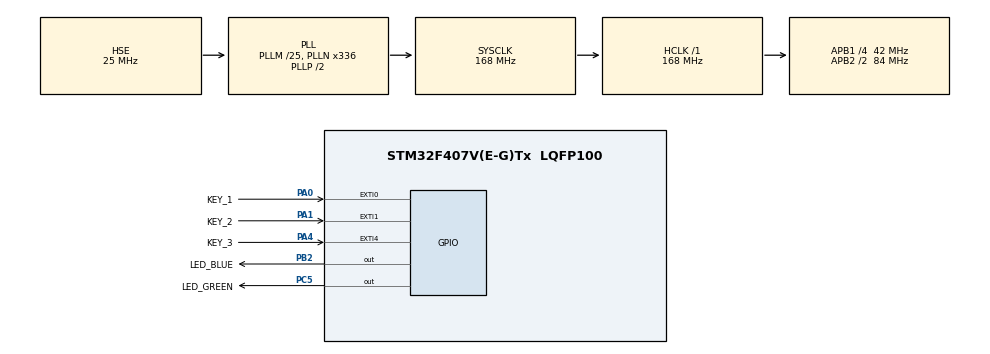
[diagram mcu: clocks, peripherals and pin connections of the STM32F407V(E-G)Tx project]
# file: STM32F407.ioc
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Mcu.Family=STM32F4
Mcu.Name=STM32F407V(E-G)Tx
Mcu.Package=LQFP100
NVIC.EXTI0_IRQn=true\:0\:0\:false\:false\:true\:true\:true\:true
NVIC.EXTI1_IRQn=true\:0\:0\:false\:false\:true\:true\:true\:true
NVIC.EXTI4_IRQn=true\:0\:0\:false\:false\:true\:true\:true\:true
NVIC.PriorityGroup=NVIC_PRIORITYGROUP_4
PA0-WKUP.GPIO_Label=KEY_1
PA0-WKUP.GPIO_ModeDefaultEXTI=GPIO_MODE_IT_RISING
PA0-WKUP.GPIO_PuPd=GPIO_PULLDOWN
PA0-WKUP.Signal=GPXTI0
PA1.GPIO_Label=KEY_2
PA1.GPIO_ModeDefaultEXTI=GPIO_MODE_IT_FALLING
PA1.GPIO_PuPd=GPIO_PULLUP
PA1.Signal=GPXTI1
PA13.Mode=Serial_Wire
PA13.Signal=SYS_JTMS-SWDIO
PA14.Mode=Serial_Wire
PA14.Signal=SYS_JTCK-SWCLK
PA4.GPIO_Label=KEY_3
PA4.GPIO_ModeDefaultEXTI=GPIO_MODE_IT_FALLING
PA4.GPIO_PuPd=GPIO_PULLUP
PA4.Signal=GPXTI4
PB2.GPIO_Label=LED_BLUE
PB2.Signal=GPIO_Output
PC5.GPIO_Label=LED_GREEN
PC5.Signal=GPIO_Output
PH0-OSC_IN.Mode=HSE-External-Oscillator
PH0-OSC_IN.Signal=RCC_OSC_IN
PH1-OSC_OUT.Mode=HSE-External-Oscillator
PH1-OSC_OUT.Signal=RCC_OSC_OUT
ProjectManager.HeapSize=0x200
ProjectManager.StackSize=0x1000
ProjectManager.TargetToolchain=MDK-ARM V5.32
RCC.48MHZClocksFreq_Value=84000000
RCC.AHBFreq_Value=168000000
RCC.APB1CLKDivider=RCC_HCLK_DIV4
RCC.APB1Freq_Value=42000000
RCC.APB1TimFreq_Value=84000000
RCC.APB2CLKDivider=RCC_HCLK_DIV2
RCC.APB2Freq_Value=84000000
RCC.APB2TimFreq_Value=168000000
RCC.CortexFreq_Value=168000000
RCC.HCLKFreq_Value=168000000
RCC.HSE_VALUE=25000000
RCC.HSI_VALUE=16000000
RCC.LSE_VALUE=32768
RCC.PLLM=25
RCC.PLLN=336
RCC.PLLSourceVirtual=RCC_PLLSOURCE_HSE
RCC.SYSCLKFreq_VALUE=168000000
RCC.SYSCLKSource=RCC_SYSCLKSOURCE_PLLCLK
RCC.VCOOutputFreq_Value=336000000
board=custom

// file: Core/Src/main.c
/* USER CODE BEGIN Header */
/**==================================================================================================================
 ** 【代码编写】  魔女开发板团队
 ** 【淘    宝】  魔女开发板       https://demoboard.taobao.com
 **==================================================================================================================
 ** 【实验名称】  SR04 超声波测距模块数据采集
 **
 ** 【适用平台】  STM32F407 + Keil5 + HAL库 + SR04
 **
 ** 【功能概述】  本程序通过定时器捕获方式测量 SR04 超声波模块的回波脉冲宽度，计算距离并通过串口输出。
 **               1. 初始化系统时钟、GPIO 及 UART1
 **               2. 初始化 SR04 模块（配置 Trig 输出引脚、Echo 输入及定时器捕获）
 **               3. 主循环中每 1 秒触发一次测距，读取距离值并滤波输出
 **               4. 绿色 LED 每 500ms 闪烁一次，指示系统运行状态
 **               5. 按键中断（KEY1/KEY2/KEY3）控制蓝色 LED 状态反转并输出提示
 **               6. 支持串口接收数据并回显（测试用）
 **
 ** 【硬件接线】  SR04 模块接线（引脚可在 bsp_SR04.h 中修改）：
 **               VCC   — 5.0V  （SR04 必须使用 5V 供电）
 **               Trig  — PC0   （触发信号，输出）
 **               Echo  — PC2   （回响信号，输入捕获）
 **               GND   — GND
 **               注意：有效测量范围 2cm ~ 400cm，测量角度约 15°。
 **
 ** 【文件说明】  本示例依赖以下 2 个文件，均已封装好底层接口：
 **               - bsp_SR04.c / bsp_SR04.h   ：SR04 驱动核心（定时器捕获 + 引脚控制）
 **
 ** 【函数使用】  使用非常简单，只需两个函数：
 **               1. SR04_Init(void)          // 初始化引脚和定时器
 **               2. float SR04_GetCM(void)   // 触发一次测距，返回距离值（厘米）
 **
 ** 【移植说明】  1. 复制 bsp_SR04.c 和 bsp_SR04.h 到工程目录
 **               2. 在 Keil 中添加文件路径：Options → C/C++ → Include Paths
 **               3. 将 bsp_SR04.c 添加到工程
 **               4. 在需要使用 SR04 的文件中包含 #include "bsp_SR04.h"
 **               5. 如需修改 Trig/Echo 引脚，请修改 bsp_SR04.h 中的宏定义
 **               6. 注意确保定时器捕获通道与 Echo 引脚匹配（本示例使用通用定时器）
 **
 ** 【调试建议】  1. 若测量数据异常，检查模块供电是否为 5V（3.3V 可能无法工作）
 **               2. 测量距离时，模块前方不要有障碍物，避免多次反射干扰
 **               3. 建议测量间隔 ≥ 60ms，避免连续触发导致回波重叠
 **               4. 可使用示波器观察 Trig 和 Echo 波形，确认时序正常
 **               5. 本示例采用了 0.1*旧值 + 0.9*新值 的滤波，若需要快速响应可取消滤波
 **
 ** 【实验现象】  1. 串口助手每 1 秒输出一次距离值，格式：SR04测量距离值： 12.3CM
 **               2. 绿色 LED 每 500ms 闪烁一次，指示程序运行
 **               3. 按下 KEY1/KEY2/KEY3，蓝色 LED 状态反转，串口输出相应提示
 **               4. 通过串口向开发板发送任意数据，会回显接收内容
 **
 ** 【更新记录】  2024-02-19  优化代码结构，增加详细注释
 **               2024-02-17  从标准库迁移至 HAL 库
 **
 ** 【备注说明】  版权归魔女科技所有，仅供学习使用，请勿用于商业用途。
 **               https://demoboard.taobao.com
 **
==================================================================================================================**/
/* USER CODE END Header */
#include "main.h"

/* USER CODE BEGIN Includes */
// 所用用户代码，必须写在配对的BEGIN与END注释之间，否则重新生成时会被自动删除

#include "bsp_UART.h"           // 串口通信
#include "bsp_SR04.h"

/* USER CODE END Includes */

void SystemClock_Config(void);
static void MX_GPIO_Init(void);

int main(void)
{

    /* USER CODE BEGIN 1 */

    /* 说明：
     * 1. 不要删除CubeMX生成的注释行（形如 USER CODE BEGIN/END），这些注释用于代码重新生成时的定位
     * 2. 所有用户自定义代码必须写在对应的BEGIN与END注释行之间，否则重新生成时会被覆盖
     * 3. 主要初始化函数说明：
     *    - HAL_Init()            初始化HAL库，配置中断优先级、系统时基等
     *    - SystemClock_Config()  配置系统时钟
     *    - MX_GPIO_Init()        初始化GPIO引脚（仅包含推挽输出、中断触发等配置）
     *    - 外设功能引脚（如UART、SPI等）的初始化在各自的功能文件中
     */

    /* USER CODE END 1 */

    /* MCU Configuration--------------------------------------------------------*/

    /* Reset of all peripherals, Initializes the Flash interface and the Systick. */
    HAL_Init();

    /* Configure the system clock */
    SystemClock_Config();

    /* Initialize all configured peripherals */
    MX_GPIO_Init();
    /* USER CODE BEGIN 2 */
    // 用户代码，必须写在配对的BEGIN与END注释之间; 否则,重新生成时会被自动删除;

    HAL_GPIO_WritePin(GPIOB, GPIO_PIN_2, GPIO_PIN_RESET);    // 点亮LED_BLUE: PB2置低电平
    HAL_GPIO_WritePin(GPIOC, GPIO_PIN_5, GPIO_PIN_RESET);    // 点亮LED_RED: PC5置低电平

    UART1_Init(115200);                                      // UART1 初始化; 已在bsp_UART.c中处理printf的重定向输出到UART1

    SR04_Init();                                             // SR04 初始化：引脚、TIM

    /* USER CODE END 2 */

    /* Infinite loop */
    while (1)
    {

        /* USER CODE BEGIN 3 */
        // 用户代码，必须写在配对的BEGIN与END注释之间; 否则,重新生成时会被自动删除;

        /** 1ms延时 **/
        HAL_Delay(1 - 1);                                      // 延时函数，参数：ms; 注意：CubeMX生成的HAL_Delay(), 函数内部为避免无效操作，会对传入参数+1，因此，如果只需要几ms延时建议传入参数时-1，如果需要大几百ms的非精准延时，那参数不-1也影响不大

        /******  检查 USART1 是否收到数据 ******/
        if (UART1_GetRxNum())                                  // 如果USART1收到数据(从串口上位机中发过来的）
        {
            // 获取数据
            uint16_t rxNum  = UART1_GetRxNum();                // 获取最后一帧的字节数
            uint8_t *rxData = UART1_GetRxData();               // 获取最后一帧的数据(地址)
            // 把收到的数据，printf到串口助手观察
            printf("\r<<<<<< USART1 接收到新数据 <<<<<<");     // 准备输出
            printf("\r 长度(字节数)：%d", rxNum);              // printf 字节数
            printf("\r 数据(16进制)：");                       // printf 16进制方式显示数据，方便观察真实数据
            for (uint16_t i = 0; i < rxNum; i++)               // 输出每一字节数值
                printf("0x%X ", rxData[i]);
            printf("\r 数据(ASCII) ：%s\r", rxData);           // ASCII方式显示数据，方便观察字符串数据;
            // 清0本帧接收
            UART1_ClearRx();                                   // 清0接收(接收字节数); 重要: 处理完数据后，谨记把接收数量清０, 再进入下次判断;
        }

        /** 每500ms执行一次的任务 **/
        static uint32_t lastTime_500ms = 0;                    // 定义静态变量，用于记录上次执行这个任务的时间点(单位：毫秒)
        if (HAL_GetTick() - lastTime_500ms >= 500)             // 检查当前时间距离上次执行是否已经过了500ms; HAL_GetTick()是获取启动后经过的毫秒数;
        {
            HAL_GPIO_TogglePin(GPIOC, GPIO_PIN_5);             // 控制绿色LED引脚电平翻转(PC5); 规律地闪烁LED，方便外部观察系统是否正常运行
            lastTime_500ms =   HAL_GetTick();                  // 记录当前时间，作为新的基准点，为下一次判断做准备
        }

        /** 每1000ms执行一次的任务 **/
        static uint32_t lastTime_1000ms = 0;                   // 定义静态变量，用于记录上次执行这个任务的时间点(单位：毫秒)
        if (HAL_GetTick() - lastTime_1000ms >= 1000)           // 每1000ms执行一次
        {
            static double cmValue = 0.0;                       // SR04测得的距离值，单位：厘米; 注意，cmValue用static修饰，初始化一次，程序运行期间会保留最后一次更新的值
            cmValue = cmValue * 0.1f + SR04_GetCM() * 0.9f;    // 获取SR04的数据，并转化成厘米值; 注意，算式中的 旧值*0.1+新值*0.9，是为了输出结果的平稳
            printf("SR04测量距离值：%5.1fCM\r\n", cmValue);    // 结果输出到串口上位机中

            lastTime_1000ms =   HAL_GetTick();                 // 记录当前时间，作为新的基准点，为下一次判断做准备
        }

    }
    /* USER CODE END 3 */
}

void SystemClock_Config(void)
{
    RCC_OscInitTypeDef RCC_OscInitStruct = {0};
    RCC_ClkInitTypeDef RCC_ClkInitStruct = {0};

    /** Configure the main internal regulator output voltage
    */
    __HAL_RCC_PWR_CLK_ENABLE();
    __HAL_PWR_VOLTAGESCALING_CONFIG(PWR_REGULATOR_VOLTAGE_SCALE1);

    /** Initializes the RCC Oscillators according to the specified parameters
    * in the RCC_OscInitTypeDef structure.
    */
    RCC_OscInitStruct.OscillatorType = RCC_OSCILLATORTYPE_HSE;
    RCC_OscInitStruct.HSEState = RCC_HSE_ON;
    RCC_OscInitStruct.PLL.PLLState = RCC_PLL_ON;
    RCC_OscInitStruct.PLL.PLLSource = RCC_PLLSOURCE_HSE;
    RCC_OscInitStruct.PLL.PLLM = 25;
    RCC_OscInitStruct.PLL.PLLN = 336;
    RCC_OscInitStruct.PLL.PLLP = RCC_PLLP_DIV2;
    RCC_OscInitStruct.PLL.PLLQ = 4;
    if (HAL_RCC_OscConfig(&RCC_OscInitStruct) != HAL_OK)
    {
        Error_Handler();
    }

    /** Initializes the CPU, AHB and APB buses clocks
    */
    RCC_ClkInitStruct.ClockType = RCC_CLOCKTYPE_HCLK | RCC_CLOCKTYPE_SYSCLK
                                  | RCC_CLOCKTYPE_PCLK1 | RCC_CLOCKTYPE_PCLK2;
    RCC_ClkInitStruct.SYSCLKSource = RCC_SYSCLKSOURCE_PLLCLK;
    RCC_ClkInitStruct.AHBCLKDivider = RCC_SYSCLK_DIV1;
    RCC_ClkInitStruct.APB1CLKDivider = RCC_HCLK_DIV4;
    RCC_ClkInitStruct.APB2CLKDivider = RCC_HCLK_DIV2;

    if (HAL_RCC_ClockConfig(&RCC_ClkInitStruct, FLASH_LATENCY_5) != HAL_OK)
    {
        Error_Handler();
    }
}

static void MX_GPIO_Init(void)
{
    GPIO_InitTypeDef GPIO_InitStruct = {0};

    /* GPIO Ports Clock Enable */
    __HAL_RCC_GPIOH_CLK_ENABLE();
    __HAL_RCC_GPIOA_CLK_ENABLE();
    __HAL_RCC_GPIOC_CLK_ENABLE();
    __HAL_RCC_GPIOB_CLK_ENABLE();

    /*Configure GPIO pin Output Level */
    HAL_GPIO_WritePin(LED_GREEN_GPIO_Port, LED_GREEN_Pin, GPIO_PIN_RESET);

    /*Configure GPIO pin Output Level */
    HAL_GPIO_WritePin(LED_BLUE_GPIO_Port, LED_BLUE_Pin, GPIO_PIN_RESET);

    /*Configure GPIO pin : KEY_1_Pin */
    GPIO_InitStruct.Pin = KEY_1_Pin;
    GPIO_InitStruct.Mode = GPIO_MODE_IT_RISING;
    GPIO_InitStruct.Pull = GPIO_PULLDOWN;
    HAL_GPIO_Init(KEY_1_GPIO_Port, &GPIO_InitStruct);

    /*Configure GPIO pins : KEY_2_Pin KEY_3_Pin */
    GPIO_InitStruct.Pin = KEY_2_Pin | KEY_3_Pin;
    GPIO_InitStruct.Mode = GPIO_MODE_IT_FALLING;
    GPIO_InitStruct.Pull = GPIO_PULLUP;
    HAL_GPIO_Init(GPIOA, &GPIO_InitStruct);

    /*Configure GPIO pin : LED_GREEN_Pin */
    GPIO_InitStruct.Pin = LED_GREEN_Pin;
    GPIO_InitStruct.Mode = GPIO_MODE_OUTPUT_PP;
    GPIO_InitStruct.Pull = GPIO_NOPULL;
    GPIO_InitStruct.Speed = GPIO_SPEED_FREQ_LOW;
    HAL_GPIO_Init(LED_GREEN_GPIO_Port, &GPIO_InitStruct);

    /*Configure GPIO pin : LED_BLUE_Pin */
    GPIO_InitStruct.Pin = LED_BLUE_Pin;
    GPIO_InitStruct.Mode = GPIO_MODE_OUTPUT_PP;
    GPIO_InitStruct.Pull = GPIO_NOPULL;
    GPIO_InitStruct.Speed = GPIO_SPEED_FREQ_LOW;
    HAL_GPIO_Init(LED_BLUE_GPIO_Port, &GPIO_InitStruct);

    /* EXTI interrupt init*/
    HAL_NVIC_SetPriority(EXTI0_IRQn, 0, 0);
    HAL_NVIC_EnableIRQ(EXTI0_IRQn);

    HAL_NVIC_SetPriority(EXTI1_IRQn, 0, 0);
    HAL_NVIC_EnableIRQ(EXTI1_IRQn);

    HAL_NVIC_SetPriority(EXTI4_IRQn, 0, 0);
    HAL_NVIC_EnableIRQ(EXTI4_IRQn);

}

/* USER CODE BEGIN 4 */
/* 所有用户代码，必须写在配对的BEGIN与END注释行之间，否则重新生成时会被删除 */

/******************************************************************************
 * 函  数： HAL_GPIO_EXTI_Callback
 * 功  能： EXTI中断回调函数
 * 参  数： uint16_t  GPIO_Pin    引脚编号，参数范围：GPIO_Pin_0 ~ GPIO_Pin_15
 * 返回值： 无
 * 备  注： CubeMX生成的代码在思维和风格上，与使用标准库编写时有很大的区别：
 *          1：这个是回调函数，不是中断服务函数。完整的调用：EXTIx_IRQHandler() > HAL_GPIO_EXTI_IRQHandler(GPIO_PIN_x) > HAL_GPIO_EXTI_Callback(GPIO_PIN_x)
 *          2：必须使用这个函数名称，因为它在CubeMX生成时，已被写好了各种函数调用、函数弱定义(在stm32xx_hal_gpio.c的底部); 不建议在原弱定义中增添代码，而是重写本函数
 *          3：中断条件触发后，本函数被自动调用，无需进行人工调用; 也无需进行中断标志的清理，因为HAL_GPIO_EXTI_IRQHandler()函数中已有操作;
 *          4：生成的所有EXTI中断服务函数，都统一调用这个函数，以引脚编号作参数
 *          5：判断参数传进来的引脚编号，即可知道是哪个外部中断线产生的中断信号
******************************************************************************/
void HAL_GPIO_EXTI_Callback(uint16_t GPIO_Pin)
{
    if (GPIO_Pin == KEY_1_Pin)                                  // 按键1 产生的中断信号：KEY_1、PA0、闲时下拉、按下时高电平、上升沿触发
    {
        HAL_GPIO_TogglePin(GPIOB, GPIO_PIN_2);                  // 反转蓝色LED灯
        printf("KEY_1 按下\r");                                 // 通过串口助手输出提示
        //XPT2046_ReCalibration();                              // 触摸屏重新校准
    }

    if (GPIO_Pin == KEY_2_Pin)                                  // 按键2 产生的中断信号：KEY_2、PA1、闲时上拉、按下时低电平、下降沿触发
    {
        HAL_GPIO_TogglePin(GPIOB, GPIO_PIN_2);                  // 反转蓝色LED灯
        printf("KEY_2 按下\r");                                 // 通过串口助手输出提示
    }

    if (GPIO_Pin == KEY_3_Pin)                                  // 按键3 产生的中断信号：KEY_3、PA4、闲时上拉、按下低高电平、下降沿触发
    {
        HAL_GPIO_TogglePin(GPIOB, GPIO_PIN_2);                  // 反转蓝色LED灯
        printf("KEY_3 按下\r");                                 // 通过串口助手输出提示
    }
}

/* USER CODE END 4 */

void Error_Handler(void)
{
    __disable_irq();
    while (1)
    {
    }
}
